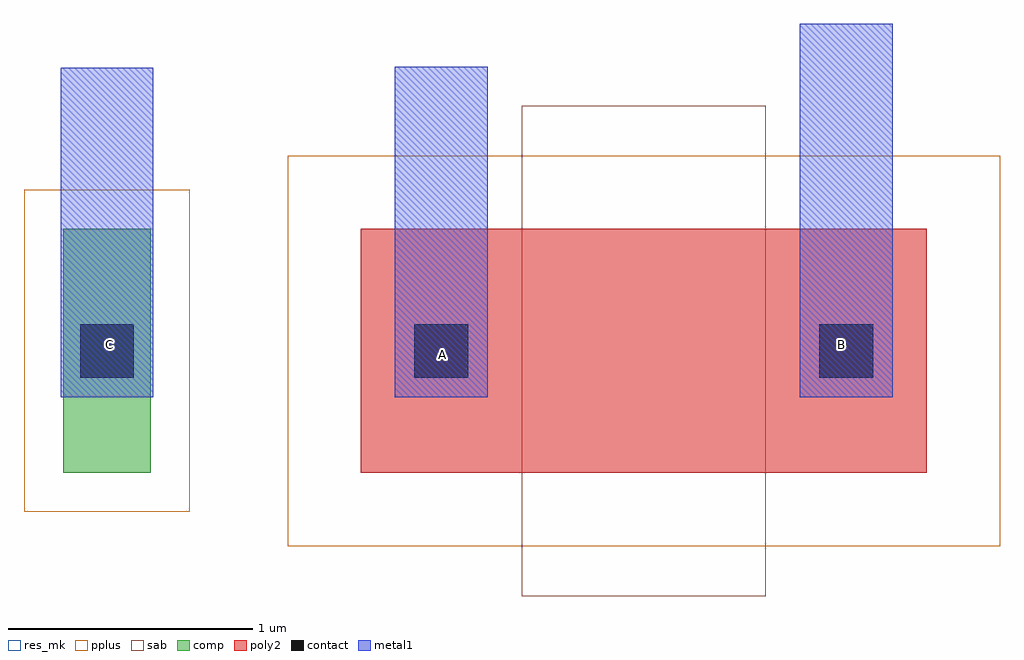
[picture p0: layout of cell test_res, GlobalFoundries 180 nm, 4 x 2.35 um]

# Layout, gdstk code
import gdstk
lib = gdstk.Library(unit=1e-6, precision=5e-09)
def R(c, l, rs):  # rectangles x0, y0, x1, y1
    for r in rs: c.add(gdstk.rectangle(r[:2], r[2:], *l))
comp = (22, 0)
poly2 = (30, 0)
pplus = (31, 0)
contact = (33, 0)
metal1 = (34, 0)
sab = (49, 0)
res_mk = (110, 5)

ppolyf_u_resistor_1 = lib.new_cell('ppolyf_u_resistor$1')
R(ppolyf_u_resistor_1, comp, [(-1.88,0,-1.52,1)])
R(ppolyf_u_resistor_1, poly2, [(-0.66,0,1.66,1)])
R(ppolyf_u_resistor_1, pplus, [(-0.96,-0.3,1.96,1.3), (-2.04,-0.16,-1.36,1.16)])
R(ppolyf_u_resistor_1, contact, [(-1.81,0.39,-1.59,0.61), (-0.44,0.39,-0.22,0.61), (1.22,0.39,1.44,0.61)])
R(ppolyf_u_resistor_1, metal1, [(-1.89,0.31,-1.51,0.69), (-0.52,0.31,-0.14,0.69), (1.14,0.31,1.52,0.69)])
R(ppolyf_u_resistor_1, sab, [(0,-0.505,1,1.505)])
R(ppolyf_u_resistor_1, res_mk, [(0,0,1,1)])

test_res = lib.new_cell('test_res')
test_res.add(gdstk.FlexPath([(-1.86,1.435),(-1.86,2.405)], 0.38, ends="flush", simple_path=True, layer=34, datatype=0))  # metal1
test_res.add(gdstk.FlexPath([(-0.49,1.435),(-0.49,2.41)], 0.38, ends="flush", simple_path=True, layer=34, datatype=0))  # metal1
test_res.add(gdstk.FlexPath([(1.17,1.435),(1.17,2.585)], 0.38, ends="flush", simple_path=True, layer=34, datatype=0))  # metal1
test_res.add(gdstk.Reference(ppolyf_u_resistor_1, (-0.16,0.745)))
test_res.add(gdstk.Label('A', (-0.485,1.23), layer=34, texttype=0))
test_res.add(gdstk.Label('B', (1.15,1.27), layer=34, texttype=0))
test_res.add(gdstk.Label('C', (-1.85,1.27), layer=34, texttype=0))

lib.write_gds('test_res.gds')
